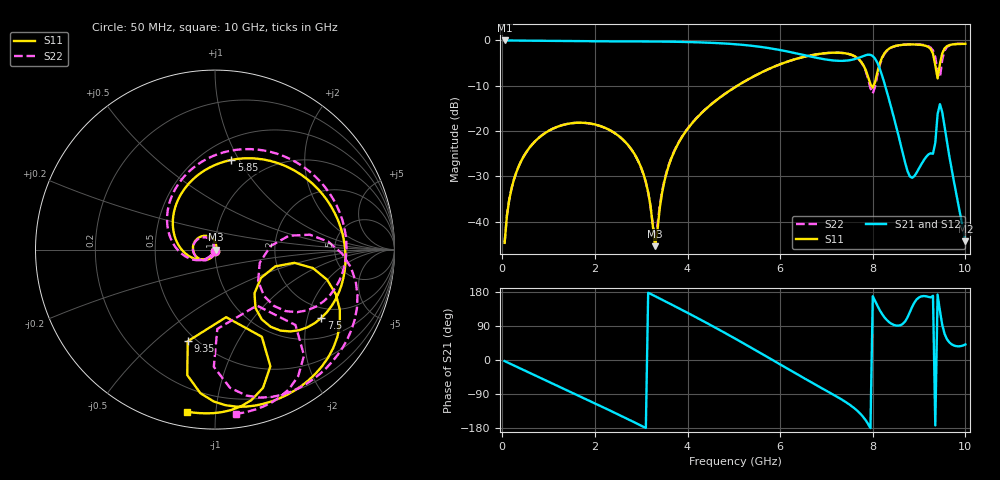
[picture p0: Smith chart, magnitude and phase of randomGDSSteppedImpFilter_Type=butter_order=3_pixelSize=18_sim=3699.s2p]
! freq	dB(S11)	phase(S11)	dB(S12)	phase(S12)
!  dB(S21)	phase(S21)	dB(S22)	phase(S22)
!S-par simulation data
#  GHz  S  DB  R 50
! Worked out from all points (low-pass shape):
!   200 points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, 50 MHz to 10 GHz, reference 50 ohm
!   highest |S21| = -0.01 dB at 50 MHz (marker M1); lowest = -44.4 dB at 10 GHz (marker M2)
!   |S21| within 3 dB of the highest: start of sweep to 6.414 GHz
!   lowest |S11| = -45.4 dB at 3.3 GHz (marker M3), VSWR 1.01, Z = 50.5 - j0.0736 ohm
!   |S11| at or under -10 dB: start of sweep to 5.077 GHz; 7.971 GHz to 8.017 GHz (46.1 MHz wide, 0.577 % of centre)
!   |S22| runs from -44.7 to -0.7 dB; largest |S21 - S12| = 0
!   S11 on the Smith chart (normalised r, x): 50 MHz: 1.00, -0.01; 5.85 GHz: 0.69, +0.93; 7.5 GHz: 1.62, -2.44; 9.35 GHz: 0.45, -0.64; 10 GHz: 0.07, -0.84
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0.05  -44.68 -92.1  -0.01 -2.9  -0.01 -2.9  -44.67 -92.0
0.2  -32.67 -101.3  -0.02 -11.6  -0.02 -11.6  -32.66 -101.0
0.5  -24.95 -119.1  -0.05 -28.7  -0.05 -28.7  -24.95 -118.2
1.75  -18.17 167.0  -0.18 -100.0  -0.18 -100.0  -18.18 170.9
2.85  -25.01 97.9  -0.21 -164.3  -0.21 -164.3  -25.05 111.9
3.15  -33.51 70.4  -0.23 177.5  -0.23 177.5  -33.58 105.0
3.3  -45.41 -7.8  -0.24 168.4  -0.24 168.4  -44.03 167.3
3.4  -37.06 -89.9  -0.25 162.2  -0.25 162.2  -36.53 -131.1
3.9  -21.01 -140.9  -0.33 130.9  -0.33 130.9  -20.94 -140.6
5.05  -10.17 137.4  -0.85 55.0  -0.85 55.0  -10.16 149.3
5.85  -5.88 79.6  -1.85 -1.2  -1.85 -1.2  -5.89 95.0
6.7  -3.22 20.3  -3.65 -60.6  -3.65 -60.6  -3.22 36.5
7.5  -3.05 -32.8  -4.37 -117.9  -4.37 -117.9  -3.05 -17.7
7.95  -9.69 -47.9  -3.18 -179.7  -3.18 -179.7  -10.55 -36.0
8.15  -5.11 -10.7  -6.21 131.8  -6.21 131.8  -5.45 8.9
8.35  -1.83 -30.8  -13.00 100.2  -13.00 100.2  -1.89 -12.8
8.8  -0.89 -63.6  -30.00 125.9  -30.00 125.9  -0.86 -46.8
9.2  -1.45 -90.4  -25.17 166.6  -25.17 166.6  -1.28 -72.9
9.35  -5.47 -106.6  -22.58 -172.6  -22.58 -172.6  -3.70 -90.6
9.45  -5.17 -61.8  -14.06 130.0  -14.06 130.0  -8.19 -53.2
9.55  -1.77 -70.9  -18.99 69.2  -18.99 69.2  -2.26 -50.0
10  -0.76 -99.9  -44.36 41.0  -44.36 41.0  -0.70 -82.6
